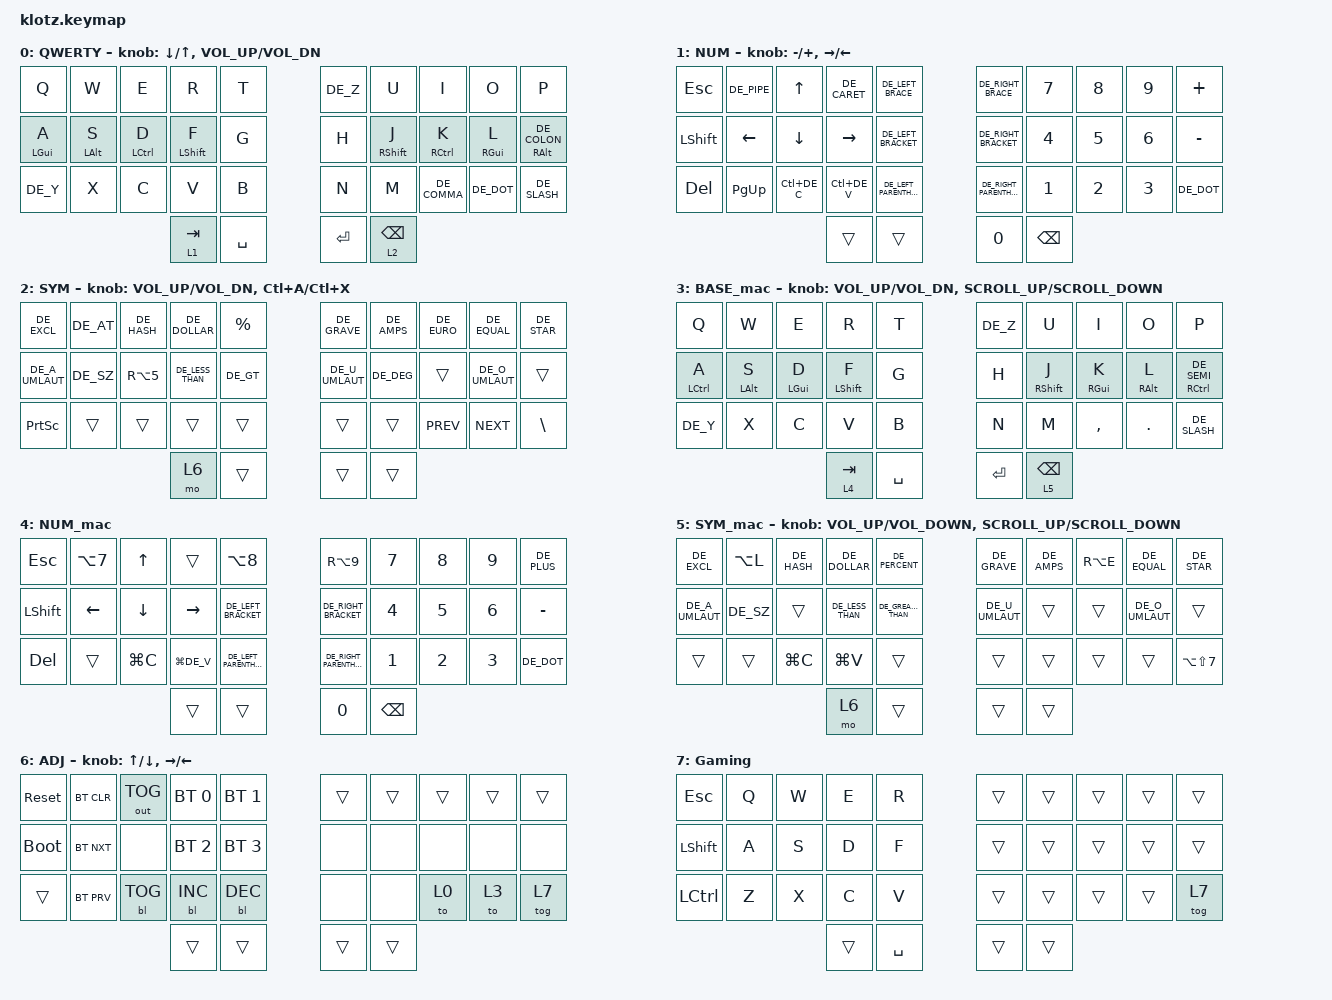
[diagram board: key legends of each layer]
//              █         ██        ▄▀▀▀▀▀▀▀▀▀▀█▀▀▀▀▀▀▀▀█▀▀▀▀▀▀▀▀▀▀█
//              █        █ █      ▄▀            ▀▄      █         █
//              █       █  █    ▄▀                ▀▄    █        █
//              █      █   █   █                    █   █       █
//              █     █    █   █                    █   █      █
//              █    █     █   █                    █   █  ▀▀▀█▀▀▀▀
//              █   █ █    █   █                    █   █    █
//              █  █   █   █   █                    █   █   █
//              █ █     █  █    ▀▄                ▄▀    █  █
//              ██       █ █      ▀▄            ▄▀      █ █
//              █         ██▄▄▄▄▄▄▄▄█▄▄▄▄▄▄▄▄▄▄▀        ██▄▄▄▄▄▄▄▄▄▄
//
//▄▄▄▄▄▄▄▄▄▄▄▄▄▄▄▄▄▄▄▄▄▄▄▄▄▄▄▄▄▄▄▄▄▄▄▄▄▄▄▄▄▄▄▄▄▄▄▄▄▄▄▄▄▄▄▄▄▄▄▄▄▄▄▄▄▄▄▄▄▄▄▄▄▄▄▄▄▄▄
//
//
/* ╭────┬────┬────┬────┬────╮ ⌄        ⌄ ╭────┬────┬────┬────┬────╮
   │  0 │  1 │  2 │  3 │  4 │ │  ⌁⌁⌁⌁   │ │  5 │  6 │  7 │  8 │  9 │
   ├────┼────┼────┼────┼────┼─╯        ╰─┼────┼────┼────┼────┼────┤
   │ 10 │ 11 │ 12 │ 13 │ 14 │╭───╮  ╭───╮│ 15 │ 16 │ 17 │ 18 │ 19 │
   ├────┼────┼────┼────┼────┤│ROT│  │ROT│├────┼────┼────┼────┼────┤
   │ 20 │ 21 │ 22 │ 23 │ 24 │╰───╯  ╰───╯│ 25 │ 26 │ 27 │ 28 │ 29 │
   ╰────┴────┴─────────┼────┼────╮  ╭────┼────┼────┼────┴────┴────╯
                       │ 30 │ 31 │  │ 32 │ 33 │
                       ╰────┴────╯  ╰────┴────╯ */

#include <behaviors.dtsi>
#include <dt-bindings/zmk/backlight.h>
#include <dt-bindings/zmk/bt.h>
#include <dt-bindings/zmk/keys.h>
#include <dt-bindings/zmk/outputs.h>
#include "keys_de.h"

#define TAPPING_TERM_TIME 175
#define QUICK_TAP_TIME 200
#define IDLE_MOD_TIME 200

// LAYERS ├────────────────────────────────────────────┐

#define BAS 0
#define SYM 1
#define NUM 2
#define NAV 3
#define ADJ 4

&mt {
    quick-tap-ms = <100>;
    global-quick-tap;
    flavor = "tap-preferred";
    tapping-term-ms = <170>;
};

/ {
    chosen { zmk,battery = &vbatt; };

    vbatt: vbatt {
        compatible = "zmk,battery-nrf-vddh";
        label = "VBATT";
    };

    combos {
        compatible = "zmk,combos";

        /* Top corners (Q+P) = bootloader */

        combo_boot {
            key-positions = <0 4>;
            bindings = <&bootloader>;
        };

        combo_esc {
            timeout-ms = <50>;
            key-positions = <0 1>;
            bindings = <&kp ESC>;
            slow-release;
        };

        combo_caps {
            timeout-ms = <50>;
            key-positions = <15 19>;
            bindings = <&caps_word>;
        };

        combo_singlequote {
            timeout-ms = <75>;
            key-positions = <7 8>;
            bindings = <&kp DE_SQT>;
        };

        combo_doublequote {
            timeout-ms = <75>;
            key-positions = <8 9>;
            bindings = <&kp DE_DQT>;
        };

        combo_minus {
            timeout-ms = <50>;
            key-positions = <17 18>;
            bindings = <&kp DE_MINUS>;
            slow-release;
        };

        combo_plus {
            timeout-ms = <50>;
            key-positions = <16 17>;
            bindings = <&kp DE_PLUS>;
            slow-release;
        };

        combo_equal {
            timeout-ms = <50>;
            key-positions = <27 28>;
            bindings = <&kp DE_EQUAL>;
            slow-release;
        };

        combo_underscore {
            timeout-ms = <50>;
            key-positions = <16 17 18>;
            bindings = <&kp DE_UNDER>;
        };

        combo_worddelete {
            timeout-ms = <50>;
            key-positions = <18 19>;
            bindings = <&kp LC(BSPC)>;
            layers = <0>;
        };

        combo_questionmark {
            timeout-ms = <50>;
            key-positions = <28 29>;
            bindings = <&kp DE_QMARK>;
        };

        combo_worddelete_mac {
            bindings = <&kp RA(BACKSPACE)>;
            key-positions = <18 19>;
            layers = <3>;
        };

        combo_enter {
            bindings = <&kp ENTER>;
            key-positions = <16 18>;
        };

        combo_delete {
            bindings = <&kp DELETE>;
            key-positions = <20 21>;
        };

        comob_backslash {
            bindings = <&kp DE_BACKSLASH>;
            key-positions = <21 22>;
            layers = <0>;
        };

        combo_backslash_mac {
            bindings = <&kp RA(LS(DE_N7))>;
            key-positions = <21 22>;
            layers = <3>;
        };
    };

    behaviors {
        hl: homerow_mods_left {
            compatible = "zmk,behavior-hold-tap";
            label = "homerow mods left";
            #binding-cells = <2>;

            //flavor = "hold-preferred";
            // flavor = "tap-preferred";

            flavor = "balanced";
            tapping-term-ms = <160>;

            //quick-tap-ms = <100>;
            //hold-while-undecided;
            // global-quick-tap;

            bindings = <&kp>, <&kp>;

            // opposite side hand keys

            hold-trigger-key-positions = <5 6 7 8 9 15 16 17 18 19 25 26 27 28 29 30 31 32 33>;
        };

        hr: homerow_mods_right {
            compatible = "zmk,behavior-hold-tap";
            label = "homerow mods right";
            #binding-cells = <2>;

            //flavor = "hold-preferred";
            // flavor = "tap-preferred";

            flavor = "balanced";
            tapping-term-ms = <160>;

            //hold-while-undecided;
            //quick-tap-ms = <100>;
            // global-quick-tap;

            bindings = <&kp>, <&kp>;

            // opposite side hand keys

            hold-trigger-key-positions = <0 1 2 3 4 10 11 12 13 14 20 21 22 23 24 30 31 32 33>;
        };
    };

    keymap {
        compatible = "zmk,keymap";

        /*  ┌───────────────────────────────────────────────────────────┐
            │ q w e r t y                                               │
            └───────────────────────────────────────────────────────────┘
            ╭───────────┬───────────┬───────────┬───────────┬───────────╮ ⌄                    ⌄ ╭───────────┬───────────┬───────────┬───────────┬───────────╮
            │     Q     │     W     │     E     │     R     │     T     │ │     ⌁⌁⌁⌁⌁⌁⌁⌁⌁⌁     │ │     Y     │     U     │     I     │     O     │     P     │
            ├───────────┼───────────┼───────────┼───────────┼───────────┼─╯                    ╰─┼───────────┼───────────┼───────────┼───────────┼───────────┤
            │   A/ALT   │   S/GUI   │  D/CTRL   │  F/SHIFT  │     G     │╭──────────╮╭──────────╮│     H     │  J/SHIFT  │  K/CTRL   │   L/GUI   │   :/ALT   │
            ├───────────┼───────────┼───────────┼───────────┼───────────┤│          ││          │├───────────┼───────────┼───────────┼───────────┼───────────┤
            │     Z     │     X     │     C     │     V     │     B     │╰──────────╯╰──────────╯│     N     │     M     │     ,     │     .     │     /     │
            ╰───────────┴───────────┴───────────┴───────────┼───────────┼───────────╮╭───────────┼───────────┼───────────┴───────────┴───────────┴───────────╯
                                                            │  Tab/NAV  │ Enter/NUM ││ Space/SYM │  Esc/NAV  │
                                                            ╰───────────┴───────────╯╰───────────┴───────────╯ */

        qwerty {
            label = "QWERTY";
            bindings = <
&kp Q       &kp W           &kp E        &kp R        &kp T      &kp DE_Z   &kp U            &kp I         &kp O       &kp P
&hl LGUI A  &hl LEFT_ALT S  &hl LCTRL D  &hl LSHFT F  &kp G      &kp H      &hr RSHFT J      &hr RCTRL K   &hr RGUI L  &hr RALT DE_COLON
&kp DE_Y    &kp X           &kp C        &kp V        &kp B      &kp N      &kp M            &kp DE_COMMA  &kp DE_DOT  &kp DE_SLASH
                                         &lt 1 TAB    &kp SPACE  &kp ENTER  &lt 2 BACKSPACE
            >;

            sensor-bindings = <&inc_dec_kp DOWN UP &inc_dec_kp C_VOL_UP C_VOL_DN>;
        };

        numbers {
            label = "NUM";
            bindings = <
&kp ESC         &kp DE_PIPE     &kp UP_ARROW    &kp DE_CARET  &kp DE_LEFT_BRACE        &kp DE_RIGHT_BRACE        &kp N7         &kp N8        &kp N9        &kp PLUS
&kp LEFT_SHIFT  &kp LEFT_ARROW  &kp DOWN_ARROW  &kp RIGHT     &kp DE_LEFT_BRACKET      &kp DE_RIGHT_BRACKET      &kp NUMBER_4   &kp N5        &kp NUMBER_6  &kp MINUS
&kp DELETE      &kp PG_UP       &kp LC(DE_C)    &kp LC(DE_V)  &kp DE_LEFT_PARENTHESIS  &kp DE_RIGHT_PARENTHESIS  &kp NUMBER_1   &kp NUMBER_2  &kp NUMBER_3  &kp DE_DOT
                                                &trans        &trans                   &kp NUMBER_0              &kp BACKSPACE
            >;

            sensor-bindings = <&inc_dec_kp MINUS PLUS &inc_dec_kp RIGHT LEFT>;
        };

        symbols {
            label = "SYM";
            bindings = <
&kp DE_EXCL      &kp DE_AT  &kp DE_HASH       &kp DE_DOLLAR     &kp PERCENT  &kp DE_GRAVE     &kp DE_AMPS  &kp DE_EURO  &kp DE_EQUAL     &kp DE_STAR
&kp DE_A_UMLAUT  &kp DE_SZ  &kp RA(NUMBER_5)  &kp DE_LESS_THAN  &kp DE_GT    &kp DE_U_UMLAUT  &kp DE_DEG   &trans       &kp DE_O_UMLAUT  &trans
&kp PRINTSCREEN  &trans     &trans            &trans            &trans       &trans           &trans       &kp C_PREV   &kp C_NEXT       &kp BACKSLASH
                                              &mo 6             &trans       &trans           &trans
            >;

            sensor-bindings = <&inc_dec_kp C_VOL_UP C_VOL_DN  &inc_dec_kp LC(A) LC(X)>;
        };

        BASE_mac {
            bindings = <
&kp Q               &kp W           &kp E           &kp R             &kp T      &kp DE_Z   &kp U              &kp I            &kp O            &kp P
&hl LEFT_CONTROL A  &hl LEFT_ALT S  &hl LEFT_GUI D  &hl LEFT_SHIFT F  &kp G      &kp H      &hr RIGHT_SHIFT J  &hr RIGHT_GUI K  &hr RIGHT_ALT L  &hr RIGHT_CONTROL DE_SEMI
&kp DE_Y            &kp X           &kp C           &kp V             &kp B      &kp N      &kp M              &kp COMMA        &kp DOT          &kp DE_SLASH
                                                    &lt 4 TAB         &kp SPACE  &kp ENTER  &lt 5 BACKSPACE
            >;

            sensor-bindings =
                <&inc_dec_kp C_VOLUME_UP C_VOL_DN>,
                <&inc_dec_kp K_SCROLL_UP K_SCROLL_DOWN>;
        };

        NUM_mac {
            bindings = <
&kp ESC    &kp LA(N7)  &kp UP     &trans        &kp LA(N8)               &kp RA(N9)                &kp N7    &kp N8  &kp N9  &kp DE_PLUS
&kp LSHFT  &kp LEFT    &kp DOWN   &kp RIGHT     &kp DE_LEFT_BRACKET      &kp DE_RIGHT_BRACKET      &kp N4    &kp N5  &kp N6  &kp MINUS
&kp DEL    &trans      &kp LG(C)  &kp LG(DE_V)  &kp DE_LEFT_PARENTHESIS  &kp DE_RIGHT_PARENTHESIS  &kp N1    &kp N2  &kp N3  &kp DE_DOT
                                  &trans        &trans                   &kp N0                    &kp BSPC
            >;
        };

        SYM_mac {
            bindings = <
&kp DE_EXCL      &kp LA(L)  &kp DE_HASH  &kp DE_DOLLAR     &kp DE_PERCENT       &kp DE_GRAVE     &kp DE_AMPS  &kp RA(E)  &kp DE_EQUAL     &kp DE_STAR
&kp DE_A_UMLAUT  &kp DE_SZ  &trans       &kp DE_LESS_THAN  &kp DE_GREATER_THAN  &kp DE_U_UMLAUT  &trans       &trans     &kp DE_O_UMLAUT  &trans
&trans           &trans     &kp LG(C)    &kp LG(V)         &trans               &trans           &trans       &trans     &trans           &kp LA(LS(N7))
                                         &mo 6             &trans               &trans           &trans
            >;

            sensor-bindings =
                <&inc_dec_kp C_VOLUME_UP C_VOLUME_DOWN>,
                <&inc_dec_kp K_SCROLL_UP K_SCROLL_DOWN>;
        };

        function {
            label = "ADJ";
            bindings = <
&sys_reset   &bt BT_CLR  &out OUT_TOG  &bt BT_SEL 0  &bt BT_SEL 1  &trans  &trans  &trans  &trans  &trans
&bootloader  &bt BT_NXT  &none         &bt BT_SEL 2  &bt BT_SEL 3  &none   &none   &none   &none   &none
&trans       &bt BT_PRV  &bl BL_TOG    &bl BL_INC    &bl BL_DEC    &none   &none   &to 0   &to 3   &tog 7
                                       &trans        &trans        &trans  &trans
            >;

            sensor-bindings = <&inc_dec_kp UP DOWN  &inc_dec_kp RIGHT LEFT>;
        };

        Gaming {
            bindings = <
&kp ESC    &kp Q  &kp W  &kp E   &kp R      &trans  &trans  &trans  &trans  &trans
&kp LSHFT  &kp A  &kp S  &kp D   &kp F      &trans  &trans  &trans  &trans  &trans
&kp LCTRL  &kp Z  &kp X  &kp C   &kp V      &trans  &trans  &trans  &trans  &tog 7
                         &trans  &kp SPACE  &trans  &trans
            >;
        };
    };
};
